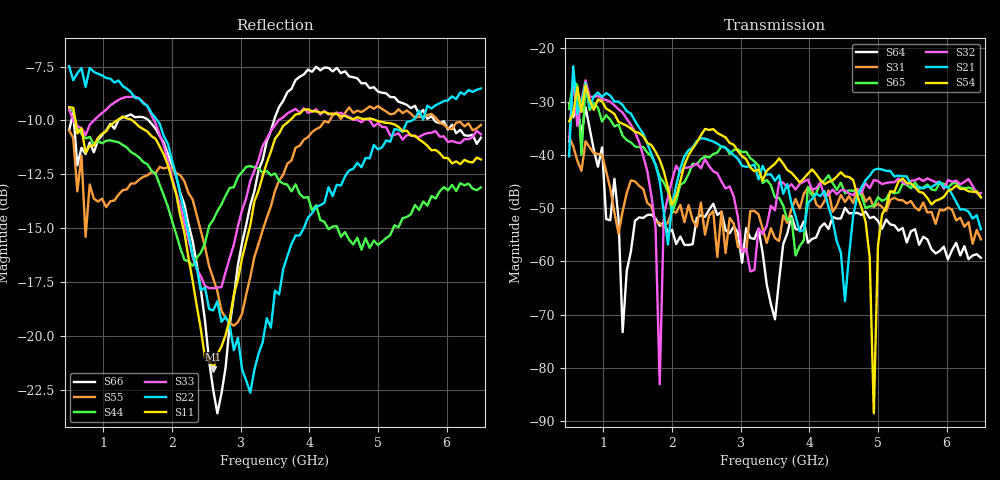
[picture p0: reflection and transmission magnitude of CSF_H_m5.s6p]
!Keysight Technologies,M9804A,MY58100912,A.14.10.03
!Date: Thursday, April 27, 2023 10:28:33
!Correction: S11(C  6-Port  )
!S12(C  6-Port  )
!S13(C  6-Port  )
!S14(C  6-Port  )
!S15(C  6-Port  )
!S16(C  6-Port  )
!S21(C  6-Port  )
!S22(C  6-Port  )
!S23(C  6-Port  )
!S24(C  6-Port  )
!S25(C  6-Port  )
!S26(C  6-Port  )
!S31(C  6-Port  )
!S32(C  6-Port  )
!S33(C  6-Port  )
!S34(C  6-Port  )
!S35(C  6-Port  )
!S36(C  6-Port  )
!S41(C  6-Port  )
!S42(C  6-Port  )
!S43(C  6-Port  )
!S44(C  6-Port  )
!S45(C  6-Port  )
!S46(C  6-Port  )
!S51(C  6-Port  )
!S52(C  6-Port  )
!S53(C  6-Port  )
!S54(C  6-Port  )
!S55(C  6-Port  )
!S56(C  6-Port  )
!S61(C  6-Port  )
!S62(C  6-Port  )
!S63(C  6-Port  )
!S64(C  6-Port  )
!S65(C  6-Port  )
!S66(C  6-Port  )
!S6P File: Measurement: :
# Hz S  RI  R 50
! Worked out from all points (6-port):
!   101 points, 500 MHz to 6.5 GHz, reference 50 ohm
!   strongest paths, dB at 500 MHz, 2 GHz, 3.5 GHz, 5 GHz, 6.5 GHz:
!     S54: -33.7, -49.4, -41.7, -57.1, -48.0
!     S21: -40.3, -49.5, -44.9, -42.6, -54.0
!     S32: -37.5, -44.8, -50.4, -44.9, -47.2
!     S65: -31.4, -51.0, -48.0, -48.0, -48.0
!     S31: -36.6, -50.6, -55.6, -49.2, -55.9
!     S64: -30.3, -54.1, -70.9, -52.4, -59.3
!   lowest |S11| = -21.5 dB at 2.6 GHz (marker M1), VSWR 1.18, Z = 42.5 + j2.16 ohm
!   |S11| at or under -10 dB: 589.7 MHz to 1.197 GHz (607.2 MHz wide, 68 % of centre); 1.42 GHz to 3.716 GHz (2.296 GHz wide, 89.4 % of centre); 4.975 GHz to end of sweep
